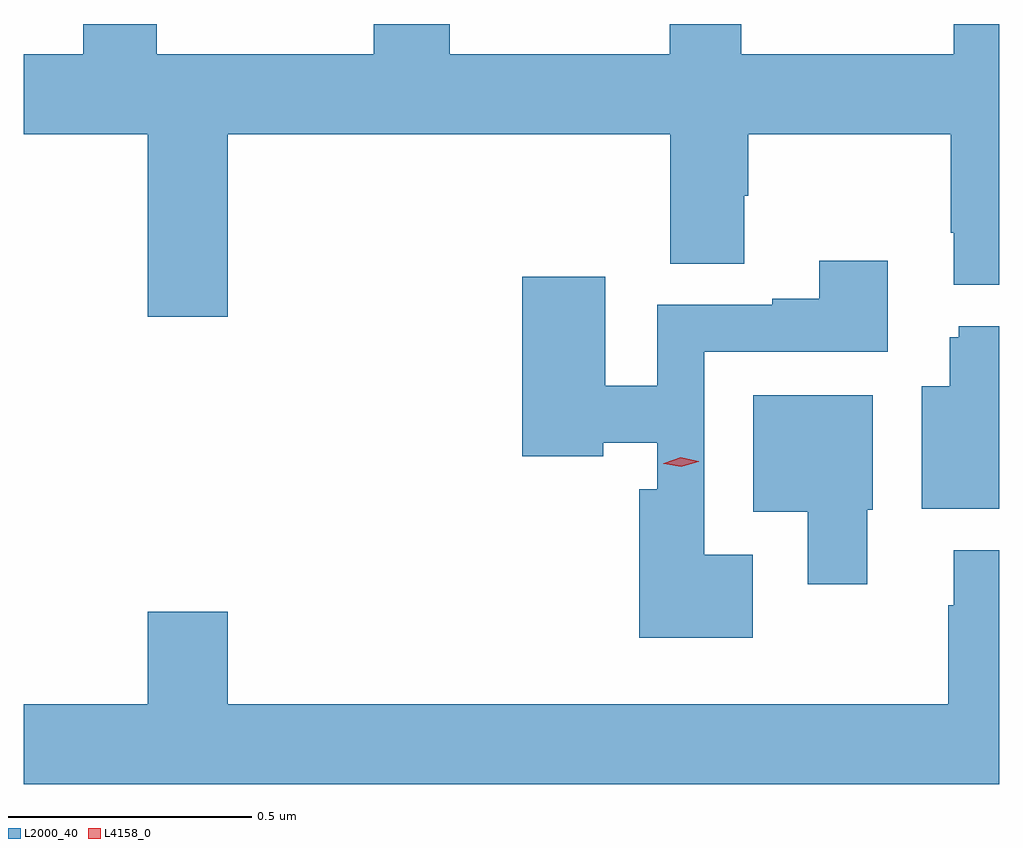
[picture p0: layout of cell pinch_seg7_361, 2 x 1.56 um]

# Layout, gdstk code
import gdstk
lib = gdstk.Library(unit=1e-6, precision=1e-09)
def P(c, l, *ps):  # polygons
    for p in ps: c.add(gdstk.Polygon(p, *l))
L2000_40 = (2000, 40)
L4158_0 = (4158, 0)

pinch_seg7_361 = lib.new_cell('pinch_seg7_361')
P(pinch_seg7_361, L2000_40, [(465.779,1022.995),(465.931,1022.995),(465.931,1023.134),(465.939,1023.134),(465.939,1023.26),(466.354,1023.26),(466.354,1023.058),(466.361,1023.058),(466.361,1022.951),(466.454,1022.951),(466.454,1023.486),(466.361,1023.486),(466.361,1023.424),(465.925,1023.424),(465.925,1023.486),(465.778,1023.486),(465.778,1023.424),(465.327,1023.424),(465.327,1023.486),(465.172,1023.486),(465.172,1023.424),(464.727,1023.424),(464.727,1023.486),(464.576,1023.486),(464.576,1023.424),(464.454,1023.424),(464.454,1023.26),(464.708,1023.26),(464.708,1022.886),(464.872,1022.886),(464.872,1023.26),(465.779,1023.26)],
  [(465.949,1022.398),(465.849,1022.398),(465.849,1022.814),(466.225,1022.814),(466.225,1023.001),(466.085,1023.001),(466.085,1022.923),(465.989,1022.923),(465.989,1022.91),(465.753,1022.91),(465.753,1022.744),(465.646,1022.744),(465.646,1022.968),(465.476,1022.968),(465.476,1022.6),(465.642,1022.6),(465.642,1022.628),(465.753,1022.628),(465.753,1022.532),(465.716,1022.532),(465.716,1022.228),(465.949,1022.228)],
  [(466.454,1022.866),(466.371,1022.866),(466.371,1022.844),(466.352,1022.844),(466.352,1022.743),(466.295,1022.743),(466.295,1022.492),(466.454,1022.492)],
  [(466.183,1022.49),(466.195,1022.49),(466.195,1022.725),(465.95,1022.725),(465.95,1022.486),(466.061,1022.486),(466.061,1022.337),(466.183,1022.337)],
  [(466.454,1022.407),(466.361,1022.407),(466.361,1022.294),(466.349,1022.294),(466.349,1022.092),(464.872,1022.092),(464.872,1022.281),(464.708,1022.281),(464.708,1022.092),(464.454,1022.092),(464.454,1021.928),(466.454,1021.928)])
P(pinch_seg7_361, L4158_0, [(465.802,1022.578),(465.766,1022.585),(465.765,1022.585),(465.766,1022.586),(465.801,1022.598),(465.838,1022.59),(465.838,1022.59),(465.838,1022.589)])

lib.write_gds('pinch_seg7_361.gds')
